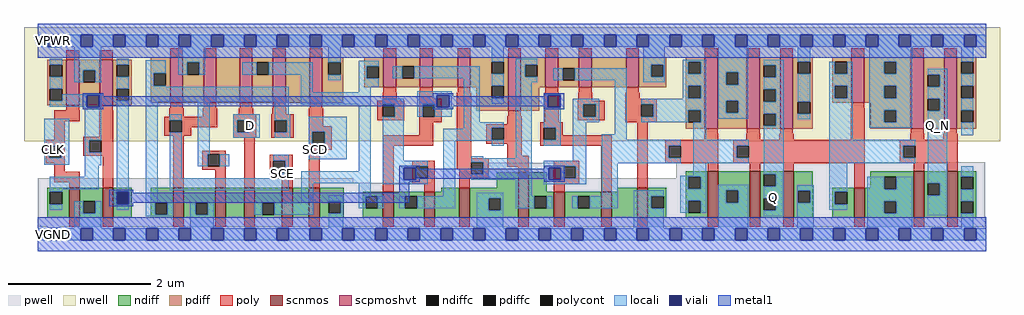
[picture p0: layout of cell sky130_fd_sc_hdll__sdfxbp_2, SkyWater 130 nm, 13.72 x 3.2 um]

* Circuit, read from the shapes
.subckt sky130_fd_sc_hdll__sdfxbp_2 CLK D SCD SCE VGND VNB VPB VPWR Q Q_N
XM1 VGND CLK n1 VNB sky130_fd_pr__nfet_01v8 w=0.42 l=0.15
XM2 n2 n1 VGND VNB sky130_fd_pr__nfet_01v8 w=0.42 l=0.15
XM3 VGND SCE n3 VNB sky130_fd_pr__nfet_01v8 w=0.42 l=0.15
XM4 n4 n3 VGND VNB sky130_fd_pr__nfet_01v8 w=0.42 l=0.15
XM5 n5 D n4 VNB sky130_fd_pr__nfet_01v8 w=0.42 l=0.15
XM6 n6 SCE n5 VNB sky130_fd_pr__nfet_01v8 w=0.42 l=0.15
XM7 VGND SCD n6 VNB sky130_fd_pr__nfet_01v8 w=0.42 l=0.15
XM8 n7 n1 n5 VNB sky130_fd_pr__nfet_01v8 w=0.36 l=0.15
XM9 n8 n2 n7 VNB sky130_fd_pr__nfet_01v8 w=0.36 l=0.15
XM10 VGND n9 n8 VNB sky130_fd_pr__nfet_01v8 w=0.42 l=0.15
XM11 n9 n7 VGND VNB sky130_fd_pr__nfet_01v8 w=0.64 l=0.15
XM12 n10 n2 n9 VNB sky130_fd_pr__nfet_01v8 w=0.36 l=0.15
XM13 n11 n1 n10 VNB sky130_fd_pr__nfet_01v8 w=0.36 l=0.15
XM14 VGND n12 n11 VNB sky130_fd_pr__nfet_01v8 w=0.42 l=0.15
XM15 VGND n10 n12 VNB sky130_fd_pr__nfet_01v8 w=0.65 l=0.15
XM16 Q n12 VGND VNB sky130_fd_pr__nfet_01v8 w=0.65 l=0.15 m=2
XM17 VGND n12 n13 VNB sky130_fd_pr__nfet_01v8 w=0.42 l=0.15
XM18 Q_N n13 VGND VNB sky130_fd_pr__nfet_01v8 w=0.65 l=0.15 m=2
XM19 VPWR CLK n1 VPB sky130_fd_pr__pfet_01v8_hvt w=0.64 l=0.18
XM20 n2 n1 VPWR VPB sky130_fd_pr__pfet_01v8_hvt w=0.64 l=0.18
XM21 VPWR SCE n3 VPB sky130_fd_pr__pfet_01v8_hvt w=0.64 l=0.18
XM22 n14 SCE VPWR VPB sky130_fd_pr__pfet_01v8_hvt w=0.64 l=0.18
XM23 n5 D n14 VPB sky130_fd_pr__pfet_01v8_hvt w=0.64 l=0.18
XM24 n15 n3 n5 VPB sky130_fd_pr__pfet_01v8_hvt w=0.64 l=0.18
XM25 VPWR SCD n15 VPB sky130_fd_pr__pfet_01v8_hvt w=0.64 l=0.18
XM26 n7 n2 n5 VPB sky130_fd_pr__pfet_01v8_hvt w=0.42 l=0.18
XM27 n16 n1 n7 VPB sky130_fd_pr__pfet_01v8_hvt w=0.42 l=0.18
XM28 VPWR n9 n16 VPB sky130_fd_pr__pfet_01v8_hvt w=0.42 l=0.18
XM29 n9 n7 VPWR VPB sky130_fd_pr__pfet_01v8_hvt w=0.75 l=0.18
XM30 n10 n1 n9 VPB sky130_fd_pr__pfet_01v8_hvt w=0.42 l=0.18
XM31 n17 n2 n10 VPB sky130_fd_pr__pfet_01v8_hvt w=0.42 l=0.18
XM32 VPWR n12 n17 VPB sky130_fd_pr__pfet_01v8_hvt w=0.42 l=0.18
XM33 VPWR n10 n12 VPB sky130_fd_pr__pfet_01v8_hvt w=1 l=0.18
XM34 Q n12 VPWR VPB sky130_fd_pr__pfet_01v8_hvt w=1 l=0.18 m=2
XM35 VPWR n12 n13 VPB sky130_fd_pr__pfet_01v8_hvt w=0.64 l=0.18
XM36 Q_N n13 VPWR VPB sky130_fd_pr__pfet_01v8_hvt w=1 l=0.18 m=2
.ends

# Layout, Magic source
magic
tech sky130A
magscale 1 2
<< nwell >>
rect -38 261 2706 582
<< pwell >>
rect 1265 157 1457 201
rect 1796 157 2665 203
rect 1 145 887 157
rect 1109 145 2665 157
rect 1 21 2665 145
rect 29 -17 63 21
<< scnmos >>
rect 89 47 119 131
rect 183 47 213 131
rect 381 47 411 131
rect 499 47 529 131
rect 581 47 611 131
rect 687 47 717 131
rect 763 47 793 131
rect 971 47 1001 119
rect 1087 47 1117 119
rect 1185 47 1215 131
rect 1351 47 1381 175
rect 1452 47 1482 119
rect 1585 47 1615 119
rect 1686 47 1716 131
rect 1884 47 1914 177
rect 2002 47 2032 177
rect 2096 47 2126 177
rect 2296 47 2326 131
rect 2463 47 2493 177
rect 2557 47 2587 177
<< scpmoshvt >>
rect 81 363 117 491
rect 175 363 211 491
rect 373 369 409 497
rect 467 369 503 497
rect 568 369 604 497
rect 662 369 698 497
rect 765 369 801 497
rect 972 413 1008 497
rect 1075 413 1111 497
rect 1181 413 1217 497
rect 1323 347 1359 497
rect 1428 413 1464 497
rect 1522 413 1558 497
rect 1655 413 1691 497
rect 1876 297 1912 497
rect 1994 297 2030 497
rect 2088 297 2124 497
rect 2288 369 2324 497
rect 2455 297 2491 497
rect 2549 297 2585 497
<< ndiff >>
rect 27 119 89 131
rect 27 85 35 119
rect 69 85 89 119
rect 27 47 89 85
rect 119 93 183 131
rect 119 59 129 93
rect 163 59 183 93
rect 119 47 183 59
rect 213 119 265 131
rect 213 85 223 119
rect 257 85 265 119
rect 213 47 265 85
rect 319 89 381 131
rect 319 55 331 89
rect 365 55 381 89
rect 319 47 381 55
rect 411 89 499 131
rect 411 55 445 89
rect 479 55 499 89
rect 411 47 499 55
rect 529 47 581 131
rect 611 89 687 131
rect 611 55 632 89
rect 666 55 687 89
rect 611 47 687 55
rect 717 47 763 131
rect 793 93 861 131
rect 1291 131 1351 175
rect 1135 119 1185 131
rect 793 59 819 93
rect 853 59 861 93
rect 793 47 861 59
rect 915 107 971 119
rect 915 73 923 107
rect 957 73 971 107
rect 915 47 971 73
rect 1001 107 1087 119
rect 1001 73 1033 107
rect 1067 73 1087 107
rect 1001 47 1087 73
rect 1117 47 1185 119
rect 1215 101 1351 131
rect 1215 67 1269 101
rect 1303 67 1351 101
rect 1215 47 1351 67
rect 1381 119 1431 175
rect 1822 162 1884 177
rect 1630 119 1686 131
rect 1381 107 1452 119
rect 1381 73 1397 107
rect 1431 73 1452 107
rect 1381 47 1452 73
rect 1482 107 1585 119
rect 1482 73 1519 107
rect 1553 73 1585 107
rect 1482 47 1585 73
rect 1615 47 1686 119
rect 1716 107 1768 131
rect 1716 73 1726 107
rect 1760 73 1768 107
rect 1716 47 1768 73
rect 1822 128 1830 162
rect 1864 128 1884 162
rect 1822 94 1884 128
rect 1822 60 1830 94
rect 1864 60 1884 94
rect 1822 47 1884 60
rect 1914 123 2002 177
rect 1914 89 1936 123
rect 1970 89 2002 123
rect 1914 47 2002 89
rect 2032 169 2096 177
rect 2032 135 2042 169
rect 2076 135 2096 169
rect 2032 101 2096 135
rect 2032 67 2042 101
rect 2076 67 2096 101
rect 2032 47 2096 67
rect 2126 122 2180 177
rect 2341 161 2463 177
rect 2341 131 2380 161
rect 2126 88 2138 122
rect 2172 88 2180 122
rect 2126 47 2180 88
rect 2234 119 2296 131
rect 2234 85 2242 119
rect 2276 85 2296 119
rect 2234 47 2296 85
rect 2326 127 2380 131
rect 2414 127 2463 161
rect 2326 93 2463 127
rect 2326 59 2380 93
rect 2414 59 2463 93
rect 2326 47 2463 59
rect 2493 143 2557 177
rect 2493 109 2503 143
rect 2537 109 2557 143
rect 2493 47 2557 109
rect 2587 161 2639 177
rect 2587 127 2597 161
rect 2631 127 2639 161
rect 2587 93 2639 127
rect 2587 59 2597 93
rect 2631 59 2639 93
rect 2587 47 2639 59
<< pdiff >>
rect 27 477 81 491
rect 27 443 35 477
rect 69 443 81 477
rect 27 409 81 443
rect 27 375 35 409
rect 69 375 81 409
rect 27 363 81 375
rect 117 461 175 491
rect 117 427 129 461
rect 163 427 175 461
rect 117 363 175 427
rect 211 477 265 491
rect 211 443 223 477
rect 257 443 265 477
rect 211 409 265 443
rect 211 375 223 409
rect 257 375 265 409
rect 211 363 265 375
rect 319 452 373 497
rect 319 418 327 452
rect 361 418 373 452
rect 319 369 373 418
rect 409 483 467 497
rect 409 449 421 483
rect 455 449 467 483
rect 409 369 467 449
rect 503 369 568 497
rect 604 483 662 497
rect 604 449 616 483
rect 650 449 662 483
rect 604 369 662 449
rect 698 369 765 497
rect 801 483 860 497
rect 801 449 818 483
rect 852 449 860 483
rect 801 369 860 449
rect 918 472 972 497
rect 918 438 926 472
rect 960 438 972 472
rect 918 413 972 438
rect 1008 472 1075 497
rect 1008 438 1025 472
rect 1059 438 1075 472
rect 1008 413 1075 438
rect 1111 413 1181 497
rect 1217 485 1323 497
rect 1217 451 1277 485
rect 1311 451 1323 485
rect 1217 417 1323 451
rect 1217 413 1277 417
rect 1234 383 1277 413
rect 1311 383 1323 417
rect 1234 347 1323 383
rect 1359 477 1428 497
rect 1359 443 1371 477
rect 1405 443 1428 477
rect 1359 413 1428 443
rect 1464 467 1522 497
rect 1464 433 1476 467
rect 1510 433 1522 467
rect 1464 413 1522 433
rect 1558 413 1655 497
rect 1691 477 1768 497
rect 1691 443 1725 477
rect 1759 443 1768 477
rect 1691 413 1768 443
rect 1822 485 1876 497
rect 1822 451 1830 485
rect 1864 451 1876 485
rect 1822 417 1876 451
rect 1359 347 1411 413
rect 1822 383 1830 417
rect 1864 383 1876 417
rect 1822 349 1876 383
rect 1822 315 1830 349
rect 1864 315 1876 349
rect 1822 297 1876 315
rect 1912 455 1994 497
rect 1912 421 1936 455
rect 1970 421 1994 455
rect 1912 375 1994 421
rect 1912 341 1936 375
rect 1970 341 1994 375
rect 1912 297 1994 341
rect 2030 475 2088 497
rect 2030 441 2042 475
rect 2076 441 2088 475
rect 2030 407 2088 441
rect 2030 373 2042 407
rect 2076 373 2088 407
rect 2030 339 2088 373
rect 2030 305 2042 339
rect 2076 305 2088 339
rect 2030 297 2088 305
rect 2124 485 2180 497
rect 2124 451 2138 485
rect 2172 451 2180 485
rect 2124 373 2180 451
rect 2124 339 2138 373
rect 2172 339 2180 373
rect 2234 485 2288 497
rect 2234 451 2242 485
rect 2276 451 2288 485
rect 2234 417 2288 451
rect 2234 383 2242 417
rect 2276 383 2288 417
rect 2234 369 2288 383
rect 2324 485 2455 497
rect 2324 451 2380 485
rect 2414 451 2455 485
rect 2324 417 2455 451
rect 2324 383 2380 417
rect 2414 383 2455 417
rect 2324 369 2455 383
rect 2124 297 2180 339
rect 2341 349 2455 369
rect 2341 315 2380 349
rect 2414 315 2455 349
rect 2341 297 2455 315
rect 2491 449 2549 497
rect 2491 415 2503 449
rect 2537 415 2549 449
rect 2491 381 2549 415
rect 2491 347 2503 381
rect 2537 347 2549 381
rect 2491 297 2549 347
rect 2585 485 2639 497
rect 2585 451 2597 485
rect 2631 451 2639 485
rect 2585 417 2639 451
rect 2585 383 2597 417
rect 2631 383 2639 417
rect 2585 349 2639 383
rect 2585 315 2597 349
rect 2631 315 2639 349
rect 2585 297 2639 315
<< ndiffc >>
rect 35 85 69 119
rect 129 59 163 93
rect 223 85 257 119
rect 331 55 365 89
rect 445 55 479 89
rect 632 55 666 89
rect 819 59 853 93
rect 923 73 957 107
rect 1033 73 1067 107
rect 1269 67 1303 101
rect 1397 73 1431 107
rect 1519 73 1553 107
rect 1726 73 1760 107
rect 1830 128 1864 162
rect 1830 60 1864 94
rect 1936 89 1970 123
rect 2042 135 2076 169
rect 2042 67 2076 101
rect 2138 88 2172 122
rect 2242 85 2276 119
rect 2380 127 2414 161
rect 2380 59 2414 93
rect 2503 109 2537 143
rect 2597 127 2631 161
rect 2597 59 2631 93
<< pdiffc >>
rect 35 443 69 477
rect 35 375 69 409
rect 129 427 163 461
rect 223 443 257 477
rect 223 375 257 409
rect 327 418 361 452
rect 421 449 455 483
rect 616 449 650 483
rect 818 449 852 483
rect 926 438 960 472
rect 1025 438 1059 472
rect 1277 451 1311 485
rect 1277 383 1311 417
rect 1371 443 1405 477
rect 1476 433 1510 467
rect 1725 443 1759 477
rect 1830 451 1864 485
rect 1830 383 1864 417
rect 1830 315 1864 349
rect 1936 421 1970 455
rect 1936 341 1970 375
rect 2042 441 2076 475
rect 2042 373 2076 407
rect 2042 305 2076 339
rect 2138 451 2172 485
rect 2138 339 2172 373
rect 2242 451 2276 485
rect 2242 383 2276 417
rect 2380 451 2414 485
rect 2380 383 2414 417
rect 2380 315 2414 349
rect 2503 415 2537 449
rect 2503 347 2537 381
rect 2597 451 2631 485
rect 2597 383 2631 417
rect 2597 315 2631 349
<< poly >>
rect 81 491 117 517
rect 175 491 211 517
rect 373 497 409 523
rect 467 497 503 523
rect 568 497 604 523
rect 662 497 698 523
rect 765 497 801 523
rect 972 497 1008 523
rect 1075 497 1111 523
rect 1181 497 1217 523
rect 1323 497 1359 523
rect 1428 497 1464 523
rect 1522 497 1558 523
rect 1655 497 1691 523
rect 1876 497 1912 523
rect 1994 497 2030 523
rect 2088 497 2124 523
rect 2288 497 2324 523
rect 2455 497 2491 523
rect 2549 497 2585 523
rect 972 398 1008 413
rect 1075 398 1111 413
rect 1181 398 1217 413
rect 970 375 1010 398
rect 1073 381 1113 398
rect 81 348 117 363
rect 175 348 211 363
rect 373 354 409 369
rect 467 354 503 369
rect 568 354 604 369
rect 662 354 698 369
rect 765 354 801 369
rect 955 365 1031 375
rect 47 318 119 348
rect 47 265 77 318
rect 173 274 213 348
rect 371 331 411 354
rect 465 331 505 354
rect 566 337 606 354
rect 660 337 700 354
rect 356 321 505 331
rect 356 287 372 321
rect 406 301 505 321
rect 551 321 615 337
rect 406 287 432 301
rect 356 277 432 287
rect 551 287 561 321
rect 595 287 615 321
rect 23 249 77 265
rect 23 215 33 249
rect 67 215 77 249
rect 129 264 213 274
rect 129 230 145 264
rect 179 230 213 264
rect 129 220 213 230
rect 23 199 77 215
rect 47 176 77 199
rect 47 146 119 176
rect 89 131 119 146
rect 183 131 213 220
rect 381 131 411 277
rect 551 271 615 287
rect 657 321 721 337
rect 657 287 667 321
rect 701 287 721 321
rect 657 271 721 287
rect 763 304 803 354
rect 955 331 971 365
rect 1005 331 1031 365
rect 955 321 1031 331
rect 1073 365 1137 381
rect 1073 331 1083 365
rect 1117 331 1137 365
rect 1073 315 1137 331
rect 763 288 827 304
rect 463 225 529 235
rect 463 191 479 225
rect 513 191 529 225
rect 463 181 529 191
rect 499 131 529 181
rect 581 131 611 271
rect 763 254 773 288
rect 807 254 827 288
rect 1073 279 1113 315
rect 763 238 827 254
rect 971 249 1113 279
rect 653 207 717 223
rect 653 173 663 207
rect 697 173 717 207
rect 653 157 717 173
rect 687 131 717 157
rect 763 131 793 238
rect 971 119 1001 249
rect 1179 213 1219 398
rect 1428 398 1464 413
rect 1522 398 1558 413
rect 1655 398 1691 413
rect 1323 332 1359 347
rect 1321 309 1361 332
rect 1426 315 1466 398
rect 1520 375 1560 398
rect 1653 381 1693 398
rect 1519 365 1595 375
rect 1519 331 1535 365
rect 1569 331 1595 365
rect 1519 321 1595 331
rect 1653 365 1741 381
rect 1653 331 1697 365
rect 1731 331 1741 365
rect 1653 315 1741 331
rect 1261 299 1361 309
rect 1261 265 1277 299
rect 1311 265 1361 299
rect 1261 255 1361 265
rect 1321 220 1361 255
rect 1413 299 1477 315
rect 1413 265 1423 299
rect 1457 279 1477 299
rect 1457 265 1615 279
rect 1413 249 1615 265
rect 1053 191 1117 207
rect 1053 157 1063 191
rect 1097 157 1117 191
rect 1179 203 1269 213
rect 1179 183 1219 203
rect 1053 141 1117 157
rect 1087 119 1117 141
rect 1185 169 1219 183
rect 1253 169 1269 203
rect 1321 190 1381 220
rect 1351 175 1381 190
rect 1452 191 1523 207
rect 1185 159 1269 169
rect 1185 131 1215 159
rect 1452 157 1479 191
rect 1513 157 1523 191
rect 1452 141 1523 157
rect 1452 119 1482 141
rect 1585 119 1615 249
rect 1686 131 1716 315
rect 2288 354 2324 369
rect 1876 282 1912 297
rect 1994 282 2030 297
rect 2088 282 2124 297
rect 1874 265 1914 282
rect 1992 265 2032 282
rect 2086 265 2126 282
rect 2286 265 2326 354
rect 2455 282 2491 297
rect 2549 282 2585 297
rect 2453 265 2493 282
rect 2547 265 2587 282
rect 1765 249 1914 265
rect 1765 215 1775 249
rect 1809 215 1914 249
rect 1765 199 1914 215
rect 1956 249 2326 265
rect 1956 215 1966 249
rect 2000 215 2326 249
rect 1956 199 2326 215
rect 2424 249 2587 265
rect 2424 215 2434 249
rect 2468 215 2587 249
rect 2424 199 2587 215
rect 1884 177 1914 199
rect 2002 177 2032 199
rect 2096 177 2126 199
rect 2296 131 2326 199
rect 2463 177 2493 199
rect 2557 177 2587 199
rect 89 21 119 47
rect 183 21 213 47
rect 381 21 411 47
rect 499 21 529 47
rect 581 21 611 47
rect 687 21 717 47
rect 763 21 793 47
rect 971 21 1001 47
rect 1087 21 1117 47
rect 1185 21 1215 47
rect 1351 21 1381 47
rect 1452 21 1482 47
rect 1585 21 1615 47
rect 1686 21 1716 47
rect 1884 21 1914 47
rect 2002 21 2032 47
rect 2096 21 2126 47
rect 2296 21 2326 47
rect 2463 21 2493 47
rect 2557 21 2587 47
<< polycont >>
rect 372 287 406 321
rect 561 287 595 321
rect 33 215 67 249
rect 145 230 179 264
rect 667 287 701 321
rect 971 331 1005 365
rect 1083 331 1117 365
rect 479 191 513 225
rect 773 254 807 288
rect 663 173 697 207
rect 1535 331 1569 365
rect 1697 331 1731 365
rect 1277 265 1311 299
rect 1423 265 1457 299
rect 1063 157 1097 191
rect 1219 169 1253 203
rect 1479 157 1513 191
rect 1775 215 1809 249
rect 1966 215 2000 249
rect 2434 215 2468 249
<< locali >>
rect 0 527 29 561
rect 63 527 121 561
rect 155 527 213 561
rect 247 527 305 561
rect 339 527 397 561
rect 431 527 489 561
rect 523 527 581 561
rect 615 527 673 561
rect 707 527 765 561
rect 799 527 857 561
rect 891 527 949 561
rect 983 527 1041 561
rect 1075 527 1133 561
rect 1167 527 1225 561
rect 1259 527 1317 561
rect 1351 527 1409 561
rect 1443 527 1501 561
rect 1535 527 1593 561
rect 1627 527 1685 561
rect 1719 527 1777 561
rect 1811 527 1869 561
rect 1903 527 1961 561
rect 1995 527 2053 561
rect 2087 527 2145 561
rect 2179 527 2237 561
rect 2271 527 2329 561
rect 2363 527 2421 561
rect 2455 527 2513 561
rect 2547 527 2605 561
rect 2639 527 2668 561
rect 35 477 69 493
rect 35 409 69 443
rect 103 461 179 527
rect 103 427 129 461
rect 163 427 179 461
rect 223 477 257 493
rect 223 409 257 443
rect 69 391 179 393
rect 69 375 139 391
rect 35 359 139 375
rect 133 357 139 359
rect 173 357 179 391
rect 19 249 89 325
rect 19 215 33 249
rect 67 215 89 249
rect 19 195 89 215
rect 133 264 179 357
rect 133 230 145 264
rect 133 194 179 230
rect 133 161 172 194
rect 35 127 172 161
rect 35 119 69 127
rect 223 119 257 375
rect 35 69 69 85
rect 103 59 129 93
rect 163 59 179 93
rect 223 69 257 85
rect 304 452 361 489
rect 304 418 327 452
rect 395 483 471 527
rect 818 483 852 527
rect 395 449 421 483
rect 455 449 471 483
rect 575 449 616 483
rect 650 449 774 483
rect 304 415 361 418
rect 304 372 706 415
rect 304 89 338 372
rect 372 321 406 337
rect 372 157 406 287
rect 450 225 484 372
rect 667 337 706 372
rect 740 399 774 449
rect 818 433 852 449
rect 903 472 960 488
rect 1277 485 1311 527
rect 903 438 926 472
rect 999 438 1025 472
rect 1059 438 1243 472
rect 903 414 960 438
rect 903 399 937 414
rect 740 365 937 399
rect 1067 391 1165 402
rect 551 321 625 337
rect 551 287 561 321
rect 595 287 625 321
rect 551 271 625 287
rect 667 321 711 337
rect 701 287 711 321
rect 667 271 711 287
rect 763 288 869 331
rect 763 254 773 288
rect 807 254 869 288
rect 450 191 479 225
rect 513 191 539 225
rect 663 207 707 223
rect 763 211 869 254
rect 697 173 707 207
rect 903 177 937 365
rect 663 157 707 173
rect 372 123 707 157
rect 741 143 937 177
rect 741 89 775 143
rect 103 17 179 59
rect 304 55 331 89
rect 365 55 381 89
rect 304 51 381 55
rect 429 55 445 89
rect 479 55 495 89
rect 610 55 632 89
rect 666 55 775 89
rect 819 93 859 109
rect 853 59 859 93
rect 903 107 937 143
rect 971 365 1029 381
rect 1005 331 1029 365
rect 1067 365 1123 391
rect 1067 331 1083 365
rect 1117 357 1123 365
rect 1157 357 1165 391
rect 1117 331 1165 357
rect 971 207 1029 331
rect 1199 315 1243 438
rect 1277 417 1311 451
rect 1277 367 1311 383
rect 1345 477 1405 493
rect 1345 443 1371 477
rect 1703 477 1764 527
rect 1345 427 1405 443
rect 1450 433 1476 467
rect 1510 433 1657 467
rect 1199 299 1311 315
rect 1199 297 1277 299
rect 1141 265 1277 297
rect 1141 263 1311 265
rect 971 191 1097 207
rect 971 187 1063 191
rect 971 153 1029 187
rect 1063 153 1097 157
rect 971 141 1097 153
rect 1141 107 1175 263
rect 1277 249 1311 263
rect 1219 213 1253 219
rect 1345 213 1389 427
rect 1423 391 1471 393
rect 1423 357 1435 391
rect 1469 357 1471 391
rect 1423 299 1471 357
rect 1457 265 1471 299
rect 1423 249 1471 265
rect 1505 365 1579 381
rect 1505 331 1535 365
rect 1569 331 1579 365
rect 1505 315 1579 331
rect 1219 203 1389 213
rect 1505 207 1543 315
rect 1623 281 1657 433
rect 1703 443 1725 477
rect 1759 443 1764 477
rect 1703 427 1764 443
rect 1814 485 1880 491
rect 1814 451 1830 485
rect 1864 451 1880 485
rect 1814 417 1880 451
rect 1814 383 1830 417
rect 1864 383 1880 417
rect 1814 381 1880 383
rect 1697 365 1880 381
rect 1731 349 1880 365
rect 1731 331 1830 349
rect 1697 315 1830 331
rect 1864 315 1880 349
rect 1914 455 1998 527
rect 1914 421 1936 455
rect 1970 421 1998 455
rect 1914 375 1998 421
rect 1914 341 1936 375
rect 1970 341 1998 375
rect 1914 325 1998 341
rect 2042 475 2098 491
rect 2076 441 2098 475
rect 2042 407 2098 441
rect 2076 373 2098 407
rect 2042 339 2098 373
rect 1253 169 1389 203
rect 1219 153 1389 169
rect 903 73 923 107
rect 957 73 973 107
rect 1017 73 1033 107
rect 1067 73 1175 107
rect 1235 101 1309 117
rect 429 17 495 55
rect 819 17 859 59
rect 1235 67 1269 101
rect 1303 67 1309 101
rect 1345 107 1389 153
rect 1423 191 1543 207
rect 1423 187 1479 191
rect 1423 153 1437 187
rect 1471 157 1479 187
rect 1513 157 1543 191
rect 1471 153 1543 157
rect 1423 141 1543 153
rect 1587 265 1657 281
rect 1843 265 1880 315
rect 2076 305 2098 339
rect 2138 485 2172 527
rect 2338 485 2459 527
rect 2138 373 2172 451
rect 2138 323 2172 339
rect 2226 451 2242 485
rect 2276 451 2292 485
rect 2226 417 2292 451
rect 2226 383 2242 417
rect 2276 383 2292 417
rect 1587 249 1809 265
rect 1587 215 1775 249
rect 1587 199 1809 215
rect 1843 249 2000 265
rect 1843 215 1966 249
rect 1843 199 2000 215
rect 1587 107 1631 199
rect 1843 165 1880 199
rect 1807 162 1880 165
rect 1807 128 1830 162
rect 1864 128 1880 162
rect 2042 169 2098 305
rect 1345 73 1397 107
rect 1431 73 1447 107
rect 1503 73 1519 107
rect 1553 73 1631 107
rect 1676 107 1760 123
rect 1676 73 1726 107
rect 1235 17 1309 67
rect 1676 17 1760 73
rect 1807 94 1880 128
rect 1807 60 1830 94
rect 1864 60 1880 94
rect 1914 123 1998 139
rect 1914 89 1936 123
rect 1970 89 1998 123
rect 1914 17 1998 89
rect 2076 135 2098 169
rect 2226 265 2292 383
rect 2338 451 2380 485
rect 2414 451 2459 485
rect 2597 485 2631 527
rect 2338 417 2459 451
rect 2338 383 2380 417
rect 2414 383 2459 417
rect 2338 349 2459 383
rect 2338 315 2380 349
rect 2414 315 2459 349
rect 2338 299 2459 315
rect 2503 449 2557 465
rect 2537 415 2557 449
rect 2503 381 2557 415
rect 2537 347 2557 381
rect 2226 249 2468 265
rect 2226 215 2434 249
rect 2226 199 2468 215
rect 2042 101 2098 135
rect 2076 67 2098 101
rect 2042 51 2098 67
rect 2136 122 2182 138
rect 2136 88 2138 122
rect 2172 88 2182 122
rect 2136 17 2182 88
rect 2226 119 2276 199
rect 2226 85 2242 119
rect 2226 69 2276 85
rect 2333 127 2380 161
rect 2414 127 2459 161
rect 2333 93 2459 127
rect 2333 59 2380 93
rect 2414 59 2459 93
rect 2333 17 2459 59
rect 2503 143 2557 347
rect 2597 417 2631 451
rect 2597 349 2631 383
rect 2597 279 2631 315
rect 2537 109 2557 143
rect 2503 53 2557 109
rect 2597 161 2631 191
rect 2597 93 2631 127
rect 2597 17 2631 59
rect 0 -17 29 17
rect 63 -17 121 17
rect 155 -17 213 17
rect 247 -17 305 17
rect 339 -17 397 17
rect 431 -17 489 17
rect 523 -17 581 17
rect 615 -17 673 17
rect 707 -17 765 17
rect 799 -17 857 17
rect 891 -17 949 17
rect 983 -17 1041 17
rect 1075 -17 1133 17
rect 1167 -17 1225 17
rect 1259 -17 1317 17
rect 1351 -17 1409 17
rect 1443 -17 1501 17
rect 1535 -17 1593 17
rect 1627 -17 1685 17
rect 1719 -17 1777 17
rect 1811 -17 1869 17
rect 1903 -17 1961 17
rect 1995 -17 2053 17
rect 2087 -17 2145 17
rect 2179 -17 2237 17
rect 2271 -17 2329 17
rect 2363 -17 2421 17
rect 2455 -17 2513 17
rect 2547 -17 2605 17
rect 2639 -17 2668 17
<< viali >>
rect 29 527 63 561
rect 121 527 155 561
rect 213 527 247 561
rect 305 527 339 561
rect 397 527 431 561
rect 489 527 523 561
rect 581 527 615 561
rect 673 527 707 561
rect 765 527 799 561
rect 857 527 891 561
rect 949 527 983 561
rect 1041 527 1075 561
rect 1133 527 1167 561
rect 1225 527 1259 561
rect 1317 527 1351 561
rect 1409 527 1443 561
rect 1501 527 1535 561
rect 1593 527 1627 561
rect 1685 527 1719 561
rect 1777 527 1811 561
rect 1869 527 1903 561
rect 1961 527 1995 561
rect 2053 527 2087 561
rect 2145 527 2179 561
rect 2237 527 2271 561
rect 2329 527 2363 561
rect 2421 527 2455 561
rect 2513 527 2547 561
rect 2605 527 2639 561
rect 139 357 173 391
rect 223 85 257 119
rect 1123 357 1157 391
rect 1029 153 1063 187
rect 1435 357 1469 391
rect 1437 153 1471 187
rect 29 -17 63 17
rect 121 -17 155 17
rect 213 -17 247 17
rect 305 -17 339 17
rect 397 -17 431 17
rect 489 -17 523 17
rect 581 -17 615 17
rect 673 -17 707 17
rect 765 -17 799 17
rect 857 -17 891 17
rect 949 -17 983 17
rect 1041 -17 1075 17
rect 1133 -17 1167 17
rect 1225 -17 1259 17
rect 1317 -17 1351 17
rect 1409 -17 1443 17
rect 1501 -17 1535 17
rect 1593 -17 1627 17
rect 1685 -17 1719 17
rect 1777 -17 1811 17
rect 1869 -17 1903 17
rect 1961 -17 1995 17
rect 2053 -17 2087 17
rect 2145 -17 2179 17
rect 2237 -17 2271 17
rect 2329 -17 2363 17
rect 2421 -17 2455 17
rect 2513 -17 2547 17
rect 2605 -17 2639 17
<< metal1 >>
rect 0 561 2668 592
rect 0 527 29 561
rect 63 527 121 561
rect 155 527 213 561
rect 247 527 305 561
rect 339 527 397 561
rect 431 527 489 561
rect 523 527 581 561
rect 615 527 673 561
rect 707 527 765 561
rect 799 527 857 561
rect 891 527 949 561
rect 983 527 1041 561
rect 1075 527 1133 561
rect 1167 527 1225 561
rect 1259 527 1317 561
rect 1351 527 1409 561
rect 1443 527 1501 561
rect 1535 527 1593 561
rect 1627 527 1685 561
rect 1719 527 1777 561
rect 1811 527 1869 561
rect 1903 527 1961 561
rect 1995 527 2053 561
rect 2087 527 2145 561
rect 2179 527 2237 561
rect 2271 527 2329 561
rect 2363 527 2421 561
rect 2455 527 2513 561
rect 2547 527 2605 561
rect 2639 527 2668 561
rect 0 496 2668 527
rect 127 391 185 397
rect 127 357 139 391
rect 173 388 185 391
rect 1111 391 1169 397
rect 1111 388 1123 391
rect 173 360 1123 388
rect 173 357 185 360
rect 127 351 185 357
rect 1111 357 1123 360
rect 1157 388 1169 391
rect 1423 391 1481 397
rect 1423 388 1435 391
rect 1157 360 1435 388
rect 1157 357 1169 360
rect 1111 351 1169 357
rect 1423 357 1435 360
rect 1469 357 1481 391
rect 1423 351 1481 357
rect 1017 187 1075 193
rect 1017 153 1029 187
rect 1063 184 1075 187
rect 1425 187 1483 193
rect 1425 184 1437 187
rect 1063 156 1437 184
rect 1063 153 1075 156
rect 1017 147 1075 153
rect 1425 153 1437 156
rect 1471 153 1483 187
rect 1425 147 1483 153
rect 201 119 269 125
rect 201 85 223 119
rect 257 116 269 119
rect 1017 116 1045 147
rect 257 88 1045 116
rect 257 85 269 88
rect 201 79 269 85
rect 0 17 2668 48
rect 0 -17 29 17
rect 63 -17 121 17
rect 155 -17 213 17
rect 247 -17 305 17
rect 339 -17 397 17
rect 431 -17 489 17
rect 523 -17 581 17
rect 615 -17 673 17
rect 707 -17 765 17
rect 799 -17 857 17
rect 891 -17 949 17
rect 983 -17 1041 17
rect 1075 -17 1133 17
rect 1167 -17 1225 17
rect 1259 -17 1317 17
rect 1351 -17 1409 17
rect 1443 -17 1501 17
rect 1535 -17 1593 17
rect 1627 -17 1685 17
rect 1719 -17 1777 17
rect 1811 -17 1869 17
rect 1903 -17 1961 17
rect 1995 -17 2053 17
rect 2087 -17 2145 17
rect 2179 -17 2237 17
rect 2271 -17 2329 17
rect 2363 -17 2421 17
rect 2455 -17 2513 17
rect 2547 -17 2605 17
rect 2639 -17 2668 17
rect 0 -48 2668 -17
<< labels >>
flabel metal1 s 29 527 63 561 0 FreeSans 200 0 0 0 VPWR
port 8 nsew power bidirectional
flabel metal1 s 29 -17 63 17 0 FreeSans 200 0 0 0 VGND
port 5 nsew ground bidirectional
flabel locali s 2513 289 2547 323 0 FreeSans 400 0 0 0 Q_N
port 10 nsew signal output
flabel locali s 2053 85 2087 119 0 FreeSans 200 0 0 0 Q
port 9 nsew signal output
flabel locali s 29 221 63 255 0 FreeSans 400 0 0 0 CLK
port 1 nsew signal input
flabel locali s 673 153 707 187 0 FreeSans 300 0 0 0 SCE
port 4 nsew signal input
flabel locali s 581 289 615 323 0 FreeSans 300 0 0 0 D
port 2 nsew signal input
flabel locali s 765 221 799 255 0 FreeSans 300 0 0 0 SCD
port 3 nsew signal input
flabel pwell s 29 -17 63 17 0 FreeSans 200 0 0 0 VNB
port 6 nsew ground bidirectional
flabel pwell s 46 0 46 0 0 FreeSans 200 0 0 0 VNB
port 6 nsew
flabel nwell s 29 527 63 561 0 FreeSans 200 0 0 0 VPB
port 7 nsew power bidirectional
flabel nwell s 46 544 46 544 0 FreeSans 200 0 0 0 VPB
port 7 nsew
rlabel comment s 0 0 0 0 4 sdfxbp_2
<< properties >>
string LEFsite unithd
string LEFclass CORE
string FIXED_BBOX 0 0 2668 544
string GDS_FILE $PDKPATH/libs.ref/sky130_fd_sc_hdll/gds/sky130_fd_sc_hdll.gds
string LEFsymmetry X Y R90
string GDS_END 2835222
string GDS_START 2816572
string LEFproperties maskLayoutSubType "abstract" prCellType "standard" originalViewName "layout"
<< end >>
